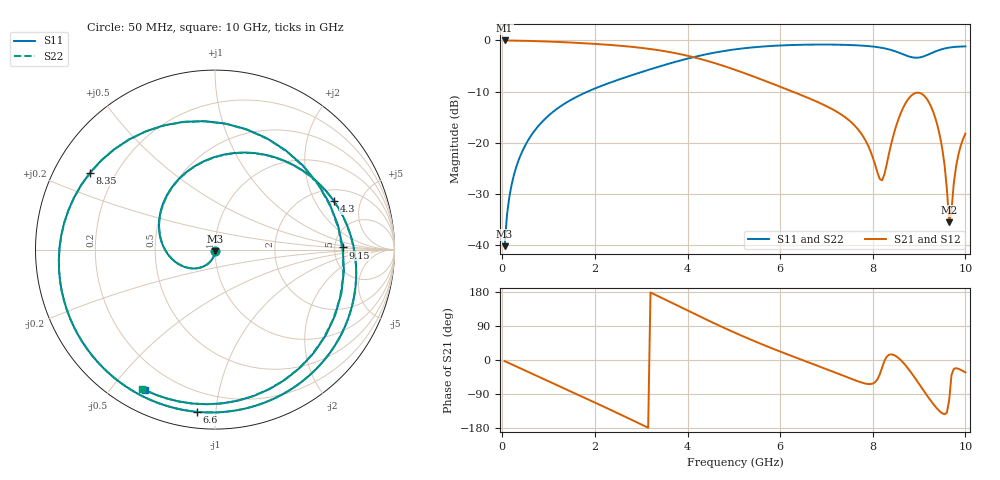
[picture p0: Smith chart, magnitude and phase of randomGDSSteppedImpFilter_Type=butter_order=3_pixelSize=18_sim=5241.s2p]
! freq	dB(S11)	phase(S11)	dB(S12)	phase(S12)
!  dB(S21)	phase(S21)	dB(S22)	phase(S22)
!S-par simulation data
#  GHz  S  DB  R 50
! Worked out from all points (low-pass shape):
!   200 points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, 50 MHz to 10 GHz, reference 50 ohm
!   highest |S21| = -0.01 dB at 50 MHz (marker M1); lowest = -35.5 dB at 9.65 GHz (marker M2)
!   |S21| within 3 dB of the highest: start of sweep to 4.004 GHz
!   lowest |S11| = -40.2 dB at 50 MHz (marker M3), VSWR 1.02, Z = 50 - j0.975 ohm
!   |S11| at or under -10 dB: start of sweep to 1.843 GHz
!   |S22| runs from -40.1 to -0.8 dB; largest |S21 - S12| = 0
!   S11 on the Smith chart (normalised r, x): 50 MHz: 1.00, -0.02; 4.3 GHz: 2.59, +2.89; 6.6 GHz: 0.09, -0.89; 8.35 GHz: 0.11, +0.28; 9.15 GHz: 5.93, +0.28; 10 GHz: 0.09, -0.61
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0.05  -40.22 -90.7  -0.01 -2.9  -0.01 -2.9  -40.15 -91.6
0.2  -28.26 -101.2  -0.03 -11.3  -0.03 -11.3  -28.26 -101.3
0.5  -20.44 -118.5  -0.08 -28.2  -0.08 -28.2  -20.44 -118.7
1.15  -13.58 -155.2  -0.28 -64.5  -0.28 -64.5  -13.58 -155.5
1.75  -10.38 171.1  -0.54 -98.2  -0.54 -98.2  -10.38 170.7
2.65  -7.24 119.8  -1.12 -149.5  -1.12 -149.5  -7.24 119.3
3.4  -5.07 75.7  -1.95 166.3  -1.95 166.3  -5.07 75.1
4.3  -2.91 22.4  -3.68 112.8  -3.68 112.8  -2.91 21.9
5.05  -1.72 -19.8  -5.82 70.5  -5.82 70.5  -1.72 -20.2
5.85  -1.06 -60.7  -8.52 29.5  -8.52 29.5  -1.06 -60.9
6.6  -0.82 -96.3  -11.22 -5.7  -11.22 -5.7  -0.82 -96.4
6.7  -0.81 -101.0  -11.61 -10.3  -11.61 -10.3  -0.81 -101.1
7.8  -1.03 -161.2  -18.88 -60.9  -18.88 -60.9  -1.03 -161.3
8.15  -1.37 170.1  -27.07 -38.3  -27.07 -38.3  -1.38 170.0
8.35  -1.75 148.3  -22.13 13.7  -22.13 13.7  -1.76 148.0
8.75  -3.04 85.5  -11.67 -20.5  -11.67 -20.5  -3.07 84.4
9.15  -2.95 0.9  -11.22 -89.9  -11.22 -89.9  -2.94 -1.0
9.45  -1.83 -53.9  -18.68 -135.8  -18.68 -135.8  -1.81 -55.5
9.55  -1.57 -68.5  -24.36 -143.1  -24.36 -143.1  -1.56 -70.0
9.65  -1.40 -81.4  -35.52 -106.0  -35.52 -106.0  -1.38 -82.8
9.8  -1.24 -98.1  -24.57 -21.6  -24.57 -21.6  -1.23 -99.3
10  -1.17 -116.5  -18.21 -32.6  -18.21 -32.6  -1.16 -117.6
